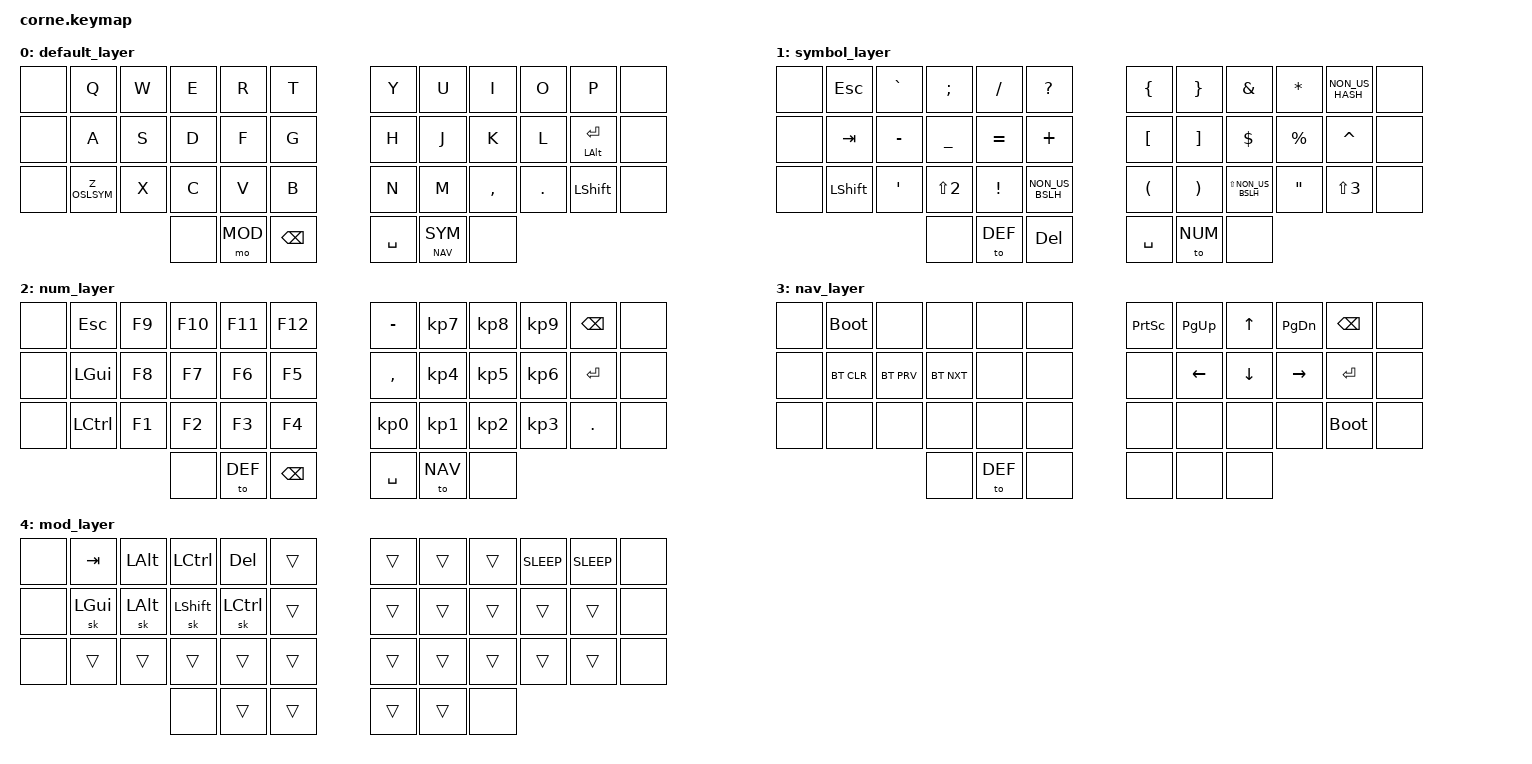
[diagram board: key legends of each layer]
/*
 * Copyright (c) 2020 The ZMK Contributors
 *
 * SPDX-License-Identifier: MIT
 */

#include <behaviors.dtsi>
#include <dt-bindings/zmk/keys.h>
#include <dt-bindings/zmk/bt.h>

#define DEF 0
#define SYM 1
#define NUM 2
#define NAV 3
#define MOD 4 

/ {
        behaviors {        
                Z_OSLSYM: tap_dance_0 {            
                        compatible = "zmk,behavior-tap-dance";            
                        label = "TAP_DANCE_OSLSYM";            
                        #binding-cells = <0>;            
                        tapping-term-ms = <200>;            
                        bindings = <&kp Z>, <&slm SYM>;        
                };    

                ly: layers {
                        compatible = "zmk,behavior-hold-tap";
                        label = "LAYERS TAP HOLD";
                        #binding-cells = <2>;
                        tapping-term-ms = <150>;
                        quick-tap-ms = <0>;
                        flavor = "tap-preferred";
                        bindings = <&mo>, <&to>;
                };

                slm: behavior_sticky_layer {
			compatible = "zmk,behavior-sticky-key";
			label = "STICKY_LAYER";
			#binding-cells = <1>;
			release-after-ms = <1000>;
			bindings = <&mo>;
			ignore-modifiers;
		};
        };

        keymap {
                compatible = "zmk,keymap";

                default_layer {
// -----------------------------------------------------------------------------------------
// |  Q  |  W  |  E  |  R  |  T  |   |  Y  |  U   |  I  |  O  |  P  |
// |  A  |  S  |  D  |  F  |  G  |   |  H  |  J   |  K  |  L  |  ENTER |
// |  Z  |  X  |  C  |  V  |  B  |   |  N  |  M   |  ,  |  .  |  SHFT  |
//                   | MOD | BKSP|   | SPC | SYMNAV |
                        bindings = <
   &none &kp Q      &kp W &kp E &kp R &kp T   &kp Y &kp U  &kp I     &kp O   &kp P       &none
   &none &kp A      &kp S &kp D &kp F &kp G   &kp H &kp J  &kp K     &kp L   &mt LALT ENTER   &none 
   &none &Z_OSLSYM  &kp X &kp C &kp V &kp B   &kp N &kp M  &kp COMMA &kp DOT &kp LSHIFT  &none
                          &none &mo MOD &kp BSPC   &kp SPACE &ly NAV SYM &none
                        >;
                };

                symbol_layer {
// -----------------------------------------------------------------------------------------
// | ESC |  `  |  ;  |  /  |  ?  |   |  {  |  }  |  &  |  *  |  #  |
// | TAB |  -  |  _  |  =  |  +  |   |  [  |  ]  |  $  |  %  |  ^  |
// | SHFT|  '  |  "  |  !  |  \  |   |  (  |  )  |  |  |  @  |  £  |
//                   | DEF | DEL |   | ENT | ALT |
                        bindings = <
   &none &kp ESC      &kp GRAVE  &kp SEMI   &kp FSLH   &kp QMARK        &kp LBRC   &kp RBRC   &kp AMPS              &kp STAR    &kp NON_US_HASH   &none
   &none &kp TAB      &kp MINUS  &kp UNDER  &kp EQUAL  &kp PLUS         &kp LBKT   &kp RBKT   &kp DOLLAR            &kp PERCENT &kp CARET         &none
   &none &kp LSHIFT   &kp APOS   &kp LS(N2) &kp EXCL   &kp NON_US_BSLH  &kp LPAR   &kp RPAR   &kp LS(NON_US_BSLH)   &kp DQT    &kp LS(N3)        &none
                          	 &none      &to DEF    &kp DEL          &kp SPACE  &to NUM    &none
                        >;
                };

                num_layer {
// -----------------------------------------------------------------------------------------
// | ESC  |  F9  |  F10  |  F11  |  F12  |   |  MINUS  |  KP_N7  |  KP_N8  |  KP_N9  |  BSPC  |
// | LGUI |  F8  |  F7   |  F6   |  F5   |   |  COMMA  |  KP_N4  |  KP_N5  |  KP_N6  |  ENTER |
// | LCTRL|  F1  |  F2   |  F3   |  F4   |   |  KP_N0  |  KP_N1  |  KP_N2  |  KP_N3  |  DOT   |
//                       | DEF   |  BKSP |   |  SPC    |  NAV    |
                        bindings = <
   &none &kp ESC    &kp F9   &kp F10   &kp F11   &kp F12     &kp MINUS   &kp KP_N7  &kp KP_N8  &kp KP_N9  &kp BSPC  &none
   &none &kp LGUI   &kp F8   &kp F7    &kp F6    &kp F5      &kp COMMA   &kp KP_N4  &kp KP_N5  &kp KP_N6  &kp ENTER &none
   &none &kp LCTRL  &kp F1   &kp F2    &kp F3    &kp F4      &kp KP_N0   &kp KP_N1  &kp KP_N2  &kp KP_N3  &kp DOT   &none
                             &none     &to DEF   &kp BSPC    &kp SPACE   &to NAV    &none
                        >;
                };

                nav_layer {
// -----------------------------------------------------------------------------------------
// | RESET  |        |        |    |    |   |  PSCRN  |  PG_UP  |  UP    |  PG_DN  |  BSPC  |
// | BT CLR | BT PRV | BT NXT |    |    |   |         |  LEFT   |  DOWN  |  RIGHT  |  ENTER |
// |        |        |        |    |    |   |         |         |        |         |  RESET |
//                            | DEF|    |   |         |         |
                        bindings = <
   &none &bootloader  &none        &none   &none   &none     &kp PSCRN   &kp PG_UP  &kp UP    &kp PG_DN  &kp BSPC    &none
   &none &bt BT_CLR   &bt BT_PRV   &bt BT_NXT   &none   &none     &none       &kp LEFT   &kp DOWN  &kp RIGHT  &kp ENTER   &none
   &none &none        &none        &none   &none   &none     &none       &none      &none     &none      &bootloader &none
                    	           &none   &to DEF &none     &none       &none      &none
                        >;
                };

                mod_layer {
// -----------------------------------------------------------------------------------------
// | TAB     |  ALT     |  CTRL     |  DEL       |    |   |   |   |   | K_SLEEP  | C_SLEEP  |
// | SK LGUI |  SK ALT  |  SK SHFT  |  SK LCTRL  |    |   |   |   |   |          |          |
// |         |          |           |            |    |   |   |   |   |          |          |
//                      |           |            |    |   |   |
                        bindings = <
   &none &kp TAB   &kp LALT   &kp LCTRL   &kp DEL     &trans    &trans  &trans  &trans  &kp K_SLEEP  &kp C_SLEEP &none
   &none &sk LGUI  &sk LALT   &sk LSHFT   &sk LCTRL   &trans    &trans  &trans  &trans  &trans       &trans      &none
   &none &trans    &trans     &trans      &trans      &trans    &trans  &trans  &trans  &trans       &trans      &none
                    	      &none       &trans      &trans    &trans  &trans  &none
                        >;
                };
        };
};
